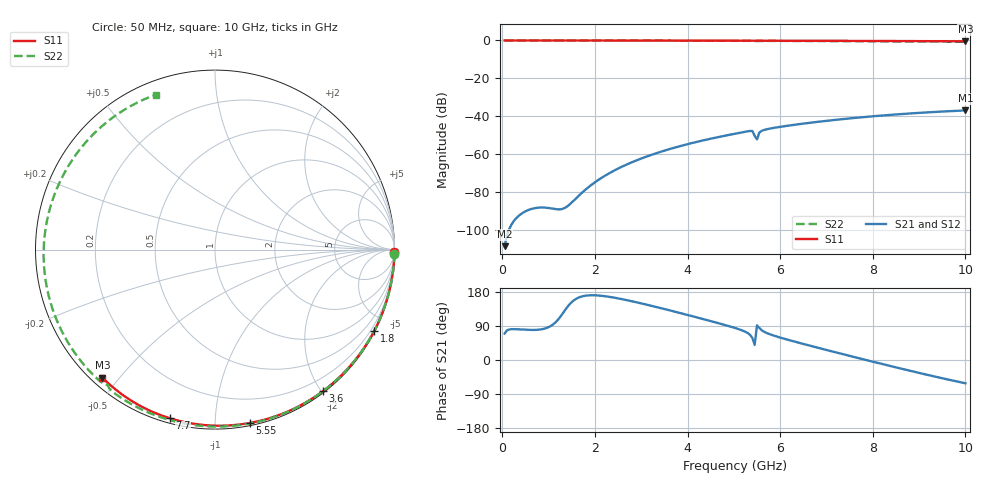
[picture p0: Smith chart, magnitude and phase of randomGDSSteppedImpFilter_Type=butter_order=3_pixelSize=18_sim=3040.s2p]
! freq	dB(S11)	phase(S11)	dB(S12)	phase(S12)
!  dB(S21)	phase(S21)	dB(S22)	phase(S22)
!S-par simulation data
#  GHz  S  DB  R 50
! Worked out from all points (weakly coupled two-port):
!   200 points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, 50 MHz to 10 GHz, reference 50 ohm
!   highest |S21| = -36.94 dB at 10 GHz (marker M1); lowest = -108.6 dB at 50 MHz (marker M2)
!   lowest |S11| = -0.4 dB at 10 GHz (marker M3), VSWR 38.94, Z = 1.55 - j22.6 ohm
!   |S11| at or under -10 dB: nowhere
!   |S22| runs from -0.7 to 0.0 dB; largest |S21 - S12| = 0
!   S11 on the Smith chart (normalised r, x): 50 MHz: open; 1.8 GHz: 0.04, -4.18; 3.6 GHz: 0.02, -2.02; 5.55 GHz: 0.02, -1.22; 7.7 GHz: 0.02, -0.77; 10 GHz: 0.03, -0.45
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0.05  -0.00 -0.8  -108.62 69.7  -108.62 69.7  -0.00 -1.3
0.85  -0.02 -12.8  -88.20 81.1  -88.20 81.1  -0.02 -21.3
1.75  -0.03 -26.2  -79.77 168.6  -79.77 168.6  -0.06 -43.2
1.8  -0.03 -26.9  -78.71 169.7  -78.71 169.7  -0.06 -44.4
2.1  -0.04 -31.3  -73.22 170.0  -73.22 170.0  -0.07 -51.6
2.45  -0.05 -36.4  -68.27 163.8  -68.27 163.8  -0.08 -59.9
2.9  -0.06 -42.8  -63.30 152.3  -63.30 152.3  -0.09 -70.5
3.4  -0.07 -49.9  -58.94 137.6  -58.94 137.6  -0.11 -82.0
3.6  -0.07 -52.6  -57.44 131.5  -57.44 131.5  -0.12 -86.5
4.3  -0.09 -62.2  -52.97 109.3  -52.97 109.3  -0.15 -102.3
5.05  -0.11 -72.2  -49.13 83.6  -49.13 83.6  -0.19 -119.1
5.4  -0.12 -76.7  -47.84 58.0  -47.84 58.0  -0.24 -127.2
5.5  -0.13 -78.0  -52.25 91.4  -52.25 91.4  -0.31 -128.5
5.55  -0.13 -78.6  -48.64 84.6  -48.64 84.6  -0.25 -129.7
5.65  -0.13 -79.9  -47.26 74.7  -47.26 74.7  -0.23 -132.2
5.8  -0.14 -81.8  -46.43 66.9  -46.43 66.9  -0.24 -135.6
6.7  -0.18 -93.0  -43.29 35.9  -43.29 35.9  -0.31 -156.4
7.2  -0.21 -99.0  -41.91 20.2  -41.91 20.2  -0.36 -168.3
7.7  -0.24 -105.0  -40.69 4.7  -40.69 4.7  -0.41 179.2
8.35  -0.29 -112.6  -39.35 -15.0  -39.35 -15.0  -0.48 161.9
9.15  -0.36 -121.7  -38.01 -38.4  -38.01 -38.4  -0.58 138.6
10  -0.45 -131.3  -36.94 -61.4  -36.94 -61.4  -0.69 111.0
